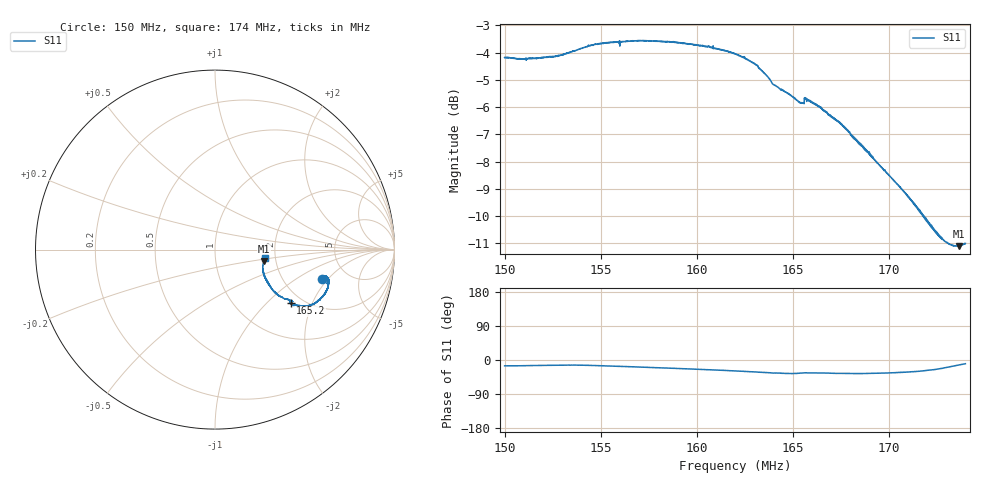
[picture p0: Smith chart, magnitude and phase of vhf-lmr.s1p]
! Calibrated averaged scanner-service zoom
# Hz S RI R 50
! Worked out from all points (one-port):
!   2001 points, 150 MHz to 174 MHz, reference 50 ohm
!   lowest |S11| = -11.1 dB at 173.7 MHz (marker M1), VSWR 1.77, Z = 86.2 - j11.8 ohm
!   |S11| at or under -10 dB: 171.8016 MHz to 171.8257 MHz (24.1 kHz wide, 0.014 % of centre); 171.8 MHz to end of sweep
!   S11 on the Smith chart (normalised r, x): 150 MHz: 3.25, -1.72; 165.2 MHz: 1.73, -1.41; 174 MHz: 1.76, -0.18
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1.5e8  0.5956 -0.1641
1.5108e8  0.5935 -0.1589
1.53e8  0.6074 -0.1457
1.5372e8  0.6195 -0.149
1.54464e8  0.6304 -0.1594
1.56e8  0.6206 -0.187
1.57104e8  0.6286 -0.2131
1.59e8  0.609 -0.25
1.6074e8  0.5809 -0.2783
1.62e8  0.5493 -0.3026
1.63032e8  0.5126 -0.3135
1.63272e8  0.4988 -0.316
1.64004e8  0.4557 -0.3095
1.65e8  0.4243 -0.3059
1.65216e8  0.4209 -0.2985
1.6548e8  0.4218 -0.2875
1.65732e8  0.4258 -0.2865
1.65888e8  0.4272 -0.2874
1.6644e8  0.4145 -0.2816
1.674e8  0.3835 -0.2717
1.68e8  0.3646 -0.2603
1.69332e8  0.3256 -0.2307
1.71e8  0.2912 -0.1813
1.71876e8  0.2766 -0.1499
1.72728e8  0.2667 -0.111
1.73208e8  0.267 -0.0857
1.73676e8  0.2713 -0.063
1.74e8  0.2776 -0.0482
